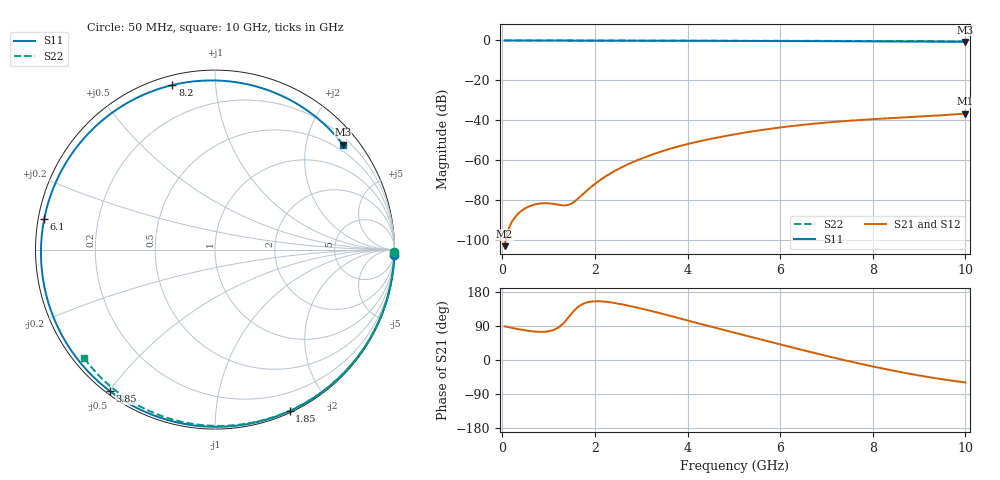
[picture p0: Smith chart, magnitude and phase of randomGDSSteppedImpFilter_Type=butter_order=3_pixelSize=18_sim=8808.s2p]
! freq	dB(S11)	phase(S11)	dB(S12)	phase(S12)
!  dB(S21)	phase(S21)	dB(S22)	phase(S22)
!S-par simulation data
#  GHz  S  DB  R 50
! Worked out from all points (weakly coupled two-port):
!   200 points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, 50 MHz to 10 GHz, reference 50 ohm
!   highest |S21| = -36.60 dB at 10 GHz (marker M1); lowest = -102.9 dB at 50 MHz (marker M2)
!   lowest |S11| = -0.7 dB at 10 GHz (marker M3), VSWR 24.68, Z = 17.6 + j138 ohm
!   |S11| at or under -10 dB: nowhere
!   |S22| runs from -0.5 to 0.0 dB; largest |S21 - S12| = 0
!   S11 on the Smith chart (normalised r, x): 50 MHz: 0, -62; 1.85 GHz: 0.02, -1.56; 3.85 GHz: 0.01, -0.50; 6.1 GHz: 0.02, +0.09; 8.2 GHz: 0.04, +0.77; 10 GHz: 0.35, +2.76
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0.05  -0.00 -1.8  -102.94 88.7  -102.94 88.7  -0.00 -0.8
0.75  -0.04 -27.1  -81.81 74.6  -81.81 74.6  -0.02 -12.1
1.55  -0.07 -55.1  -80.76 130.1  -80.76 130.1  -0.03 -24.8
1.6  -0.07 -56.8  -79.85 136.1  -79.85 136.1  -0.03 -25.6
1.75  -0.08 -61.8  -76.73 148.4  -76.73 148.4  -0.04 -28.0
1.85  -0.08 -65.2  -74.65 152.6  -74.65 152.6  -0.04 -29.5
2.15  -0.09 -75.0  -69.25 154.6  -69.25 154.6  -0.04 -34.2
2.5  -0.11 -86.2  -64.40 148.8  -64.40 148.8  -0.05 -39.6
3.4  -0.14 -113.6  -55.82 123.8  -55.82 123.8  -0.07 -53.2
3.85  -0.16 -126.7  -52.73 109.1  -52.73 109.1  -0.08 -59.8
4.45  -0.18 -143.7  -49.49 89.8  -49.49 89.8  -0.10 -68.5
5.05  -0.22 -160.6  -46.84 70.9  -46.84 70.9  -0.12 -76.9
5.6  -0.26 -176.0  -44.81 53.6  -44.81 53.6  -0.14 -84.4
6.1  -0.29 169.8  -43.25 38.1  -43.25 38.1  -0.16 -91.1
6.7  -0.34 152.2  -41.72 19.7  -41.72 19.7  -0.19 -99.0
7.4  -0.40 130.7  -40.33 -0.8  -40.33 -0.8  -0.23 -108.0
8.2  -0.47 104.5  -39.12 -22.2  -39.12 -22.2  -0.29 -118.1
8.35  -0.49 99.4  -38.92 -25.9  -38.92 -25.9  -0.31 -119.9
8.75  -0.53 85.3  -38.41 -35.3  -38.41 -35.3  -0.34 -124.9
9.15  -0.58 70.9  -37.89 -43.9  -37.89 -43.9  -0.38 -129.8
9.55  -0.63 56.1  -37.33 -51.7  -37.33 -51.7  -0.42 -134.7
10  -0.70 39.4  -36.60 -59.3  -36.60 -59.3  -0.47 -140.3
